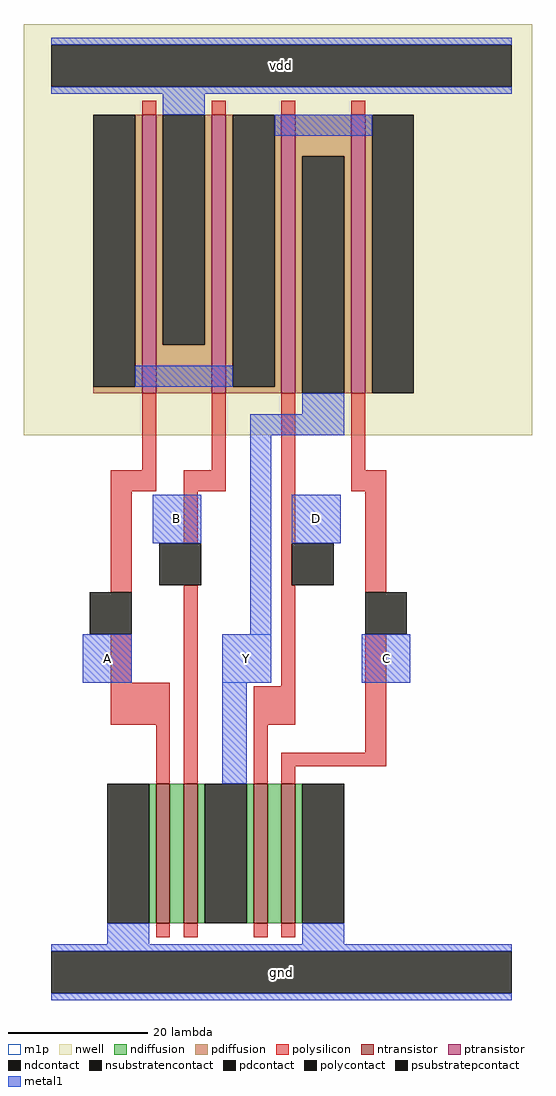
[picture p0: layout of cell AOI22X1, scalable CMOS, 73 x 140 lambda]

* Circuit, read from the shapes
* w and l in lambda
.subckt AOI22X1 A B C D Y vdd gnd
M1 n1 A gnd gnd nfet w=20 l=2
M2 Y B n1 gnd nfet w=20 l=2
M3 n2 D Y gnd nfet w=20 l=2
M4 gnd C n2 gnd nfet w=20 l=2
M5 vdd A n3 vdd pfet w=40 l=2
M6 n3 B vdd vdd pfet w=40 l=2
M7 Y D n3 vdd pfet w=40 l=2
M8 n3 C Y vdd pfet w=40 l=2
.ends

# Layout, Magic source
magic
tech scmos
magscale 1 2
<< nwell >>
rect -14 154 132 272
<< ntransistor >>
rect 24 14 28 54
rect 32 14 36 54
rect 52 14 56 54
rect 60 14 64 54
<< ptransistor >>
rect 20 166 24 246
rect 40 166 44 246
rect 60 166 64 246
rect 80 166 84 246
<< ndiffusion >>
rect 22 14 24 54
rect 28 14 32 54
rect 36 14 38 54
rect 50 14 52 54
rect 56 14 60 54
rect 64 14 66 54
<< pdiffusion >>
rect 18 168 20 246
rect 6 166 20 168
rect 24 180 26 246
rect 38 180 40 246
rect 24 166 40 180
rect 44 168 46 246
rect 58 168 60 246
rect 44 166 60 168
rect 64 234 80 246
rect 64 166 66 234
rect 78 166 80 234
rect 84 166 86 246
<< ndcontact >>
rect 10 14 22 54
rect 38 14 50 54
rect 66 14 78 54
<< pdcontact >>
rect 6 168 18 246
rect 26 180 38 246
rect 46 168 58 246
rect 66 166 78 234
rect 86 166 98 246
<< psubstratepcontact >>
rect -6 -6 126 6
<< nsubstratencontact >>
rect -6 254 126 266
<< polysilicon >>
rect 20 246 24 250
rect 40 246 44 250
rect 60 246 64 250
rect 80 246 84 250
rect 20 144 24 166
rect 40 144 44 166
rect 11 138 24 144
rect 32 138 44 144
rect 11 109 17 138
rect 32 123 36 138
rect 60 123 64 166
rect 80 144 84 166
rect 80 138 90 144
rect 60 111 63 123
rect 11 83 17 97
rect 11 71 28 83
rect 24 54 28 71
rect 32 54 36 111
rect 60 82 64 111
rect 52 71 64 82
rect 84 109 90 138
rect 52 54 56 71
rect 84 63 90 97
rect 60 59 90 63
rect 60 54 64 59
rect 24 10 28 14
rect 32 10 36 14
rect 52 10 56 14
rect 60 10 64 14
<< polycontact >>
rect 25 111 37 123
rect 63 111 75 123
rect 5 97 17 109
rect 84 97 96 109
<< metal1 >>
rect -6 266 126 268
rect -6 252 126 254
rect 26 246 38 252
rect 18 168 46 174
rect 58 240 86 246
rect 66 160 78 166
rect 51 154 78 160
rect 23 123 37 137
rect 51 97 57 154
rect 63 123 77 137
rect 3 83 17 97
rect 43 83 57 97
rect 83 83 97 97
rect 43 54 50 83
rect 10 8 22 14
rect 66 8 78 14
rect -6 6 126 8
rect -6 -8 126 -6
<< m1p >>
rect 23 123 37 137
rect 63 123 77 137
rect 3 83 17 97
rect 43 83 57 97
rect 83 83 97 97
<< labels >>
rlabel metal1 -6 252 126 268 0 vdd
port 5 nsew power bidirectional abutment
rlabel metal1 -6 -8 126 8 0 gnd
port 6 nsew ground bidirectional abutment
rlabel metal1 23 123 37 137 0 B
port 1 nsew signal input
rlabel metal1 3 83 17 97 0 A
port 0 nsew signal input
rlabel metal1 43 83 57 97 0 Y
port 4 nsew signal output
rlabel metal1 63 123 77 137 0 D
port 3 nsew signal input
rlabel metal1 83 83 97 97 0 C
port 2 nsew signal input
<< properties >>
string FIXED_BBOX 0 0 120 260
string LEFclass CORE
string LEFsite core
string LEFsymmetry X Y
<< end >>
